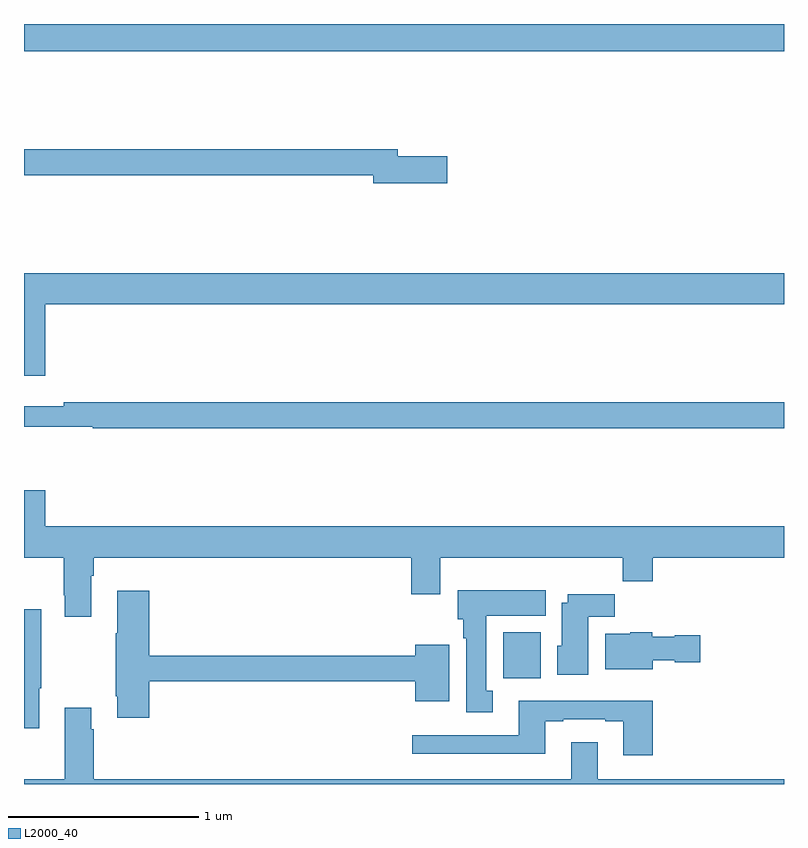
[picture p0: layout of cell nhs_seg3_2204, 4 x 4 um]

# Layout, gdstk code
import gdstk
lib = gdstk.Library(unit=1e-6, precision=1e-09)
def R(c, l, rs):  # rectangles x0, y0, x1, y1
    for r in rs: c.add(gdstk.rectangle(r[:2], r[2:], *l))
def P(c, l, *ps):  # polygons
    for p in ps: c.add(gdstk.Polygon(p, *l))
L2000_40 = (2000, 40)

nhs_seg3_2204 = lib.new_cell('nhs_seg3_2204')
R(nhs_seg3_2204, L2000_40, [(227.522,690.956,227.719,691.198), (225,694.256,229,694.4)])
P(nhs_seg3_2204, L2000_40, [(227.227,693.704),(226.966,693.704),(226.966,693.74),(225,693.74),(225,693.604),(226.838,693.604),(226.838,693.562),(227.227,693.562)],
  [(225.112,692.924),(229,692.924),(229,693.088),(225,693.088),(225,692.55),(225.112,692.55)],
  [(229,692.408),(225.208,692.408),(225.208,692.389),(225,692.389),(225,692.28),(225.362,692.28),(225.362,692.272),(229,692.272)],
  [(225.355,691.496),(225.368,691.496),(225.368,691.592),(227.039,691.592),(227.039,691.398),(227.191,691.398),(227.191,691.592),(228.151,691.592),(228.151,691.468),(228.308,691.468),(228.308,691.592),(229,691.592),(229,691.756),(225.112,691.756),(225.112,691.945),(225,691.945),(225,691.592),(225.208,691.592),(225.208,691.393),(225.215,691.393),(225.215,691.281),(225.355,691.281)],
  [(227.467,690.89),(227.434,690.89),(227.434,691.286),(227.746,691.286),(227.746,691.42),(227.282,691.42),(227.282,691.266),(227.312,691.266),(227.312,691.166),(227.327,691.166),(227.327,690.777),(227.467,690.777)],
  [(225.659,690.94),(227.06,690.94),(227.06,690.836),(227.239,690.836),(227.239,691.132),(227.06,691.132),(227.06,691.076),(225.659,691.076),(225.659,691.417),(225.491,691.417),(225.491,691.193),(225.484,691.193),(225.484,690.862),(225.491,690.862),(225.491,690.75),(225.659,690.75)],
  [(227.971,691.28),(228.11,691.28),(228.11,691.399),(227.861,691.399),(227.861,691.354),(227.831,691.354),(227.831,691.128),(227.807,691.128),(227.807,690.974),(227.971,690.974)],
  [(225.079,690.905),(225.091,690.905),(225.091,691.321),(225,691.321),(225,690.693),(225.079,690.693)],
  [(228.31,691.052),(228.426,691.052),(228.426,691.04),(228.559,691.04),(228.559,691.182),(228.426,691.182),(228.426,691.174),(228.306,691.174),(228.306,691.198),(228.192,691.198),(228.192,691.192),(228.059,691.192),(228.059,691.004),(228.31,691.004)],
  [(228.308,690.838),(227.603,690.838),(227.603,690.657),(227.043,690.657),(227.043,690.56),(227.743,690.56),(227.743,690.729),(227.839,690.729),(227.839,690.741),(228.059,690.741),(228.059,690.729),(228.155,690.729),(228.155,690.552),(228.308,690.552)],
  [(229,690.424),(228.019,690.424),(228.019,690.619),(227.879,690.619),(227.879,690.424),(225.368,690.424),(225.368,690.689),(225.355,690.689),(225.355,690.802),(225.215,690.802),(225.215,690.424),(225,690.424),(225,690.4),(229,690.4)])

lib.write_gds('nhs_seg3_2204.gds')
